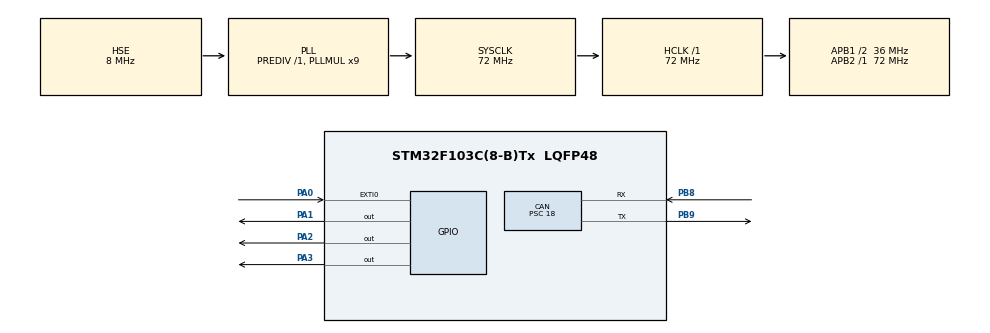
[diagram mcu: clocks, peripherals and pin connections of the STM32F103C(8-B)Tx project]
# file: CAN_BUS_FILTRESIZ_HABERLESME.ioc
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CAN.BS1=CAN_BS1_2TQ
CAN.CalculateBaudRate=500000
CAN.CalculateTimeBit=2000
CAN.CalculateTimeQuantum=500.0
CAN.Prescaler=18
Mcu.Family=STM32F1
Mcu.Name=STM32F103C(8-B)Tx
Mcu.Package=LQFP48
NVIC.CAN1_RX1_IRQn=true\:0\:1\:true\:false\:true\:true\:true\:true
NVIC.EXTI0_IRQn=true\:0\:0\:false\:false\:true\:true\:true\:true
NVIC.PriorityGroup=NVIC_PRIORITYGROUP_0
PA0-WKUP.Signal=GPXTI0
PA1.Signal=GPIO_Output
PA13.Mode=Serial_Wire
PA13.Signal=SYS_JTMS-SWDIO
PA14.Mode=Serial_Wire
PA14.Signal=SYS_JTCK-SWCLK
PA2.Signal=GPIO_Output
PA3.Signal=GPIO_Output
PB8.Mode=CAN_Activate
PB8.Signal=CAN_RX
PB9.Mode=CAN_Activate
PB9.Signal=CAN_TX
PD0-OSC_IN.Mode=HSE-External-Oscillator
PD0-OSC_IN.Signal=RCC_OSC_IN
PD1-OSC_OUT.Mode=HSE-External-Oscillator
PD1-OSC_OUT.Signal=RCC_OSC_OUT
ProjectManager.HeapSize=0x200
ProjectManager.StackSize=0x400
ProjectManager.TargetToolchain=STM32CubeIDE
RCC.AHBFreq_Value=72000000
RCC.APB1CLKDivider=RCC_HCLK_DIV2
RCC.APB1Freq_Value=36000000
RCC.APB1TimFreq_Value=72000000
RCC.APB2Freq_Value=72000000
RCC.APB2TimFreq_Value=72000000
RCC.HCLKFreq_Value=72000000
RCC.PLLMUL=RCC_PLL_MUL9
RCC.PLLSourceVirtual=RCC_PLLSOURCE_HSE
RCC.SYSCLKFreq_VALUE=72000000
RCC.SYSCLKSource=RCC_SYSCLKSOURCE_PLLCLK
RCC.USBFreq_Value=72000000
board=custom

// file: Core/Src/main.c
/* USER CODE BEGIN Header */
/**
  ******************************************************************************
  * @file           : main.c
  * @brief          : Main program body
  ******************************************************************************
  * @attention
  *
  * Copyright (c) 2024 STMicroelectronics.
  * All rights reserved.
  *
  * This software is licensed under terms that can be found in the LICENSE file
  * in the root directory of this software component.
  * If no LICENSE file comes with this software, it is provided AS-IS.
  *
  ******************************************************************************
  */
/* USER CODE END Header */
#include "main.h"

CAN_HandleTypeDef hcan;

void SystemClock_Config(void);
static void MX_GPIO_Init(void);
static void MX_CAN_Init(void);

/* USER CODE BEGIN 0 */

CAN_TxHeaderTypeDef pTxHeader;
CAN_RxHeaderTypeDef pRxHeader;

 uint8_t count[1];
 uint8_t rcount[1];
 uint32_t pTxMailbox;

CAN_FilterTypeDef sFilterconfig;

/* USER CODE END 0 */

int main(void)
{

  /* MCU Configuration--------------------------------------------------------*/

  /* Reset of all peripherals, Initializes the Flash interface and the Systick. */
  HAL_Init();

  /* Configure the system clock */
  SystemClock_Config();

  /* Initialize all configured peripherals */
  MX_GPIO_Init();
  MX_CAN_Init();
  /* USER CODE BEGIN 2 */

  HAL_CAN_Start(&hcan);
  HAL_CAN_ActivateNotification(&hcan,CAN_IT_RX_FIFO0_MSG_PENDING);

   pTxHeader.DLC=1;
   pTxHeader.IDE=CAN_ID_STD;
   pTxHeader.RTR=CAN_RTR_DATA;
   pTxHeader.StdId=0x0156;

   //set Filter Parameters

   sFilterconfig.FilterActivation=ENABLE;
   sFilterconfig.FilterBank=0;
   sFilterconfig.FilterFIFOAssignment=CAN_FILTER_FIFO0;
   sFilterconfig.FilterIdHigh=0x0000;
   sFilterconfig.FilterIdLow=0x0000;
   sFilterconfig.FilterMaskIdHigh=0x0000;
   sFilterconfig.FilterMaskIdLow=0x0000;
   sFilterconfig.FilterMode=CAN_FILTERMODE_IDMASK;
   sFilterconfig.FilterScale=CAN_FILTERSCALE_32BIT;
   sFilterconfig.SlaveStartFilterBank=14;

 /* if( HAL_CAN_ConfigFilter(&hcan, &sFilterconfig)!= HAL_OK)
  {

	  HAL_GPIO_WritePin(GPIOA, GPIO_PIN_1, GPIO_PIN_SET);

  }*/

  /*  if(HAL_CAN_Start(&hcan)!=HAL_OK)
  	{
  		HAL_GPIO_WritePin(GPIOA, GPIO_PIN_1, GPIO_PIN_SET);
  	}*/

  /* USER CODE END 2 */

  /* Infinite loop */
  while (1)
  {

    /* USER CODE BEGIN 3 */

	       if(rcount[0]==0x01)
	  		{
	  			HAL_GPIO_WritePin(GPIOA,GPIO_PIN_3,GPIO_PIN_SET);
	  		}
	  		if(rcount[0]==0x02)
	  		{
	  			HAL_GPIO_WritePin(GPIOA,GPIO_PIN_3,GPIO_PIN_RESET);
	  		}
  }
  /* USER CODE END 3 */
}

void SystemClock_Config(void)
{
  RCC_OscInitTypeDef RCC_OscInitStruct = {0};
  RCC_ClkInitTypeDef RCC_ClkInitStruct = {0};

  /** Initializes the RCC Oscillators according to the specified parameters
  * in the RCC_OscInitTypeDef structure.
  */
  RCC_OscInitStruct.OscillatorType = RCC_OSCILLATORTYPE_HSE;
  RCC_OscInitStruct.HSEState = RCC_HSE_ON;
  RCC_OscInitStruct.HSEPredivValue = RCC_HSE_PREDIV_DIV1;
  RCC_OscInitStruct.HSIState = RCC_HSI_ON;
  RCC_OscInitStruct.PLL.PLLState = RCC_PLL_ON;
  RCC_OscInitStruct.PLL.PLLSource = RCC_PLLSOURCE_HSE;
  RCC_OscInitStruct.PLL.PLLMUL = RCC_PLL_MUL9;
  if (HAL_RCC_OscConfig(&RCC_OscInitStruct) != HAL_OK)
  {
    Error_Handler();
  }

  /** Initializes the CPU, AHB and APB buses clocks
  */
  RCC_ClkInitStruct.ClockType = RCC_CLOCKTYPE_HCLK|RCC_CLOCKTYPE_SYSCLK
                              |RCC_CLOCKTYPE_PCLK1|RCC_CLOCKTYPE_PCLK2;
  RCC_ClkInitStruct.SYSCLKSource = RCC_SYSCLKSOURCE_PLLCLK;
  RCC_ClkInitStruct.AHBCLKDivider = RCC_SYSCLK_DIV1;
  RCC_ClkInitStruct.APB1CLKDivider = RCC_HCLK_DIV2;
  RCC_ClkInitStruct.APB2CLKDivider = RCC_HCLK_DIV1;

  if (HAL_RCC_ClockConfig(&RCC_ClkInitStruct, FLASH_LATENCY_2) != HAL_OK)
  {
    Error_Handler();
  }
}

static void MX_CAN_Init(void)
{

  hcan.Instance = CAN1;
  hcan.Init.Prescaler = 18;
  hcan.Init.Mode = CAN_MODE_NORMAL;
  hcan.Init.SyncJumpWidth = CAN_SJW_1TQ;
  hcan.Init.TimeSeg1 = CAN_BS1_2TQ;
  hcan.Init.TimeSeg2 = CAN_BS2_1TQ;
  hcan.Init.TimeTriggeredMode = DISABLE;
  hcan.Init.AutoBusOff = DISABLE;
  hcan.Init.AutoWakeUp = DISABLE;
  hcan.Init.AutoRetransmission = DISABLE;
  hcan.Init.ReceiveFifoLocked = DISABLE;
  hcan.Init.TransmitFifoPriority = DISABLE;
  if (HAL_CAN_Init(&hcan) != HAL_OK)
  {
    Error_Handler();
  }

}

static void MX_GPIO_Init(void)
{
  GPIO_InitTypeDef GPIO_InitStruct = {0};

  /* GPIO Ports Clock Enable */
  __HAL_RCC_GPIOD_CLK_ENABLE();
  __HAL_RCC_GPIOA_CLK_ENABLE();
  __HAL_RCC_GPIOB_CLK_ENABLE();

  /*Configure GPIO pin Output Level */
  HAL_GPIO_WritePin(GPIOA, GPIO_PIN_1|GPIO_PIN_2|GPIO_PIN_3, GPIO_PIN_RESET);

  /*Configure GPIO pin : PA0 */
  GPIO_InitStruct.Pin = GPIO_PIN_0;
  GPIO_InitStruct.Mode = GPIO_MODE_IT_RISING;
  GPIO_InitStruct.Pull = GPIO_NOPULL;
  HAL_GPIO_Init(GPIOA, &GPIO_InitStruct);

  /*Configure GPIO pins : PA1 PA2 PA3 */
  GPIO_InitStruct.Pin = GPIO_PIN_1|GPIO_PIN_2|GPIO_PIN_3;
  GPIO_InitStruct.Mode = GPIO_MODE_OUTPUT_PP;
  GPIO_InitStruct.Pull = GPIO_NOPULL;
  GPIO_InitStruct.Speed = GPIO_SPEED_FREQ_LOW;
  HAL_GPIO_Init(GPIOA, &GPIO_InitStruct);

  /* EXTI interrupt init*/
  HAL_NVIC_SetPriority(EXTI0_IRQn, 0, 0);
  HAL_NVIC_EnableIRQ(EXTI0_IRQn);

}

/* USER CODE BEGIN 4 */

void HAL_CAN_RxFifo0MsgPendingCallback(CAN_HandleTypeDef *hcan)
{

	  HAL_CAN_GetRxMessage(&hcan, CAN_RX_FIFO0 , &pRxHeader , rcount);

}

/* USER CODE END 4 */

void Error_Handler(void)
{
  __disable_irq();
  while (1)
  {
  }
}
